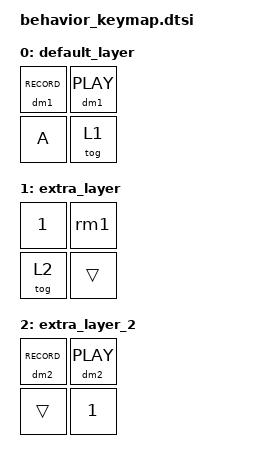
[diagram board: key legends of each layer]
/*
 * Copyright (c) 2022 The ZMK Contributors
 *
 * SPDX-License-Identifier: MIT
 */

#include <dt-bindings/zmk/keys.h>
#include <behaviors.dtsi>
#include <dt-bindings/zmk/kscan_mock.h>
#include <dt-bindings/zmk/dynamic-macros.h>

/ {
    macros {
        dm1: dm1 {
            compatible = "zmk,behavior-dynamic-macro";
            label = "dynamic-macro-1";
            #binding-cells = <1>;
        };
        dm2: dm2 {
            compatible = "zmk,behavior-dynamic-macro";
            label = "dynamic-macro-2";
            wait-ms = <10>;
            #binding-cells = <1>;
        };
        rm1: rm1 {
            compatible = "zmk,behavior-macro";
            label = "macro-1";
            wait-ms = <10>;
            tap-ms = <10>;
            #binding-cells = <0>;
            bindings = <&kp A &kp A &kp A>;
        };
    };

    keymap {
        compatible = "zmk,keymap";
        label ="Default keymap";

        default_layer {
            bindings = <
                &dm1 RECORD &dm1 PLAY
                &kp A &tog 1>;
        };

        extra_layer {
            bindings = <
                &kp N1 &rm1
                &tog 2 &trans>;

        };

        extra_layer_2 {
            bindings = <
                &dm2 RECORD &dm2 PLAY
                &trans &kp N1>;
            };

    };
};
